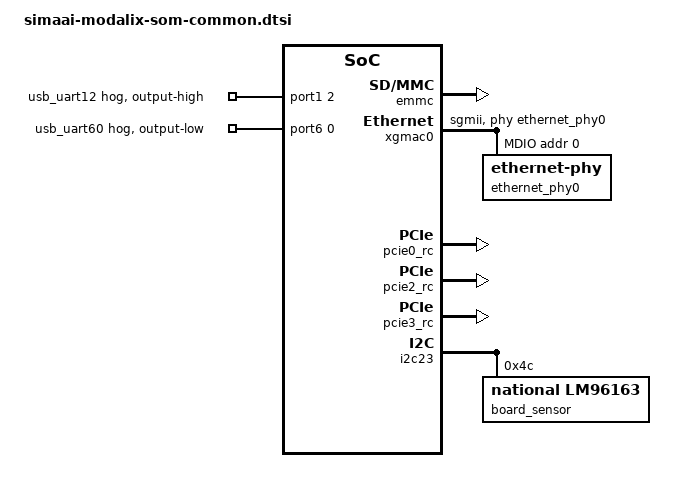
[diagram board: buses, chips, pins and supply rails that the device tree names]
// SPDX-License-Identifier: (GPL-2.0+ OR MIT)
/*
 * Copyright (c) 2025 SiMa ai
 *
 * Common definitions shared by the Modalix SoM board variants
 * (simaai-modalix-som*.dts). Each including .dts adds only the
 * board-specific model string and DRAM size; everything else lives here.
 */

#include <dt-bindings/gpio/gpio.h>

/ {
	chosen {
		bootargs = "console=ttyS0,1152000n8 root=/dev/ram0 rw rootfstype=ramfs";
	};

	aliases {
		console   = &uart0;
		mmc0 = &emmc;
		gpio0 = &port1;
		gpio1 = &port6;
		i2c0 = &i2c23;
	};
};

&gpio10 {
	pinctrl-0 = <&pins_gpio12_default>;
	pinctrl-names = "default";
	status = "okay";
};

&gpio60 {
	pinctrl-0 = <&pins_gpio60_default>, <&pins_gpio61_default>,
		    <&pins_gpio62_default>, <&pins_gpio63_default>,
		    <&pins_gpio64_default>, <&pins_gpio65_default>,
		    <&pins_gpio66_default>, <&pins_gpio67_default>;
	pinctrl-names = "default";
	status = "okay";
};

&port1 {
	snps,nr-gpios = <4>;
#ifndef CONFIG_DEBUG_UART_BOARD_INIT
	usb-hog {
		gpio-hog;
		gpios = <2 GPIO_ACTIVE_HIGH>;
		output-high;
		line-name = "usb_uart12";
       };
#endif
};

&port6 {
	uart-hog {
		gpio-hog;
		gpios = <0 GPIO_ACTIVE_HIGH>;
		output-low;
		line-name = "usb_uart60";
	};
};

&sio10_clk {
	/* usb uart doesn't enable clock divider, let's mark it unused so clock driver enables it */
	simaai,ignore-unused = <0x100>;
};

&uart1 {
	status = "disabled";
};

&uart2 {
	status = "disabled";
};

&emmc {
	status = "okay";
};

&xgmac0 {
	phy-handle = <&ethernet_phy0>;
	phy-mode = "sgmii";
	max-speed = <1000>;
	managed = "in-band-status";
	status = "okay";

	mdio0 {
		compatible = "snps,dwmac-mdio";
		#address-cells = <1>;
		#size-cells = <0>;

		ethernet_phy0: ethernet-phy@0 {
			reg = <0>;
		};
	};
};

&pcie0_rc {
	status = "okay";
};

&pcie2_rc {
	status = "okay";
};

&pcie3_rc {
	status = "okay";
};

&i2c23 {
	status = "okay";

	board_sensor: temp@4c {
		compatible = "national,lm96163";
		reg = <0x4c>;
	};
};
